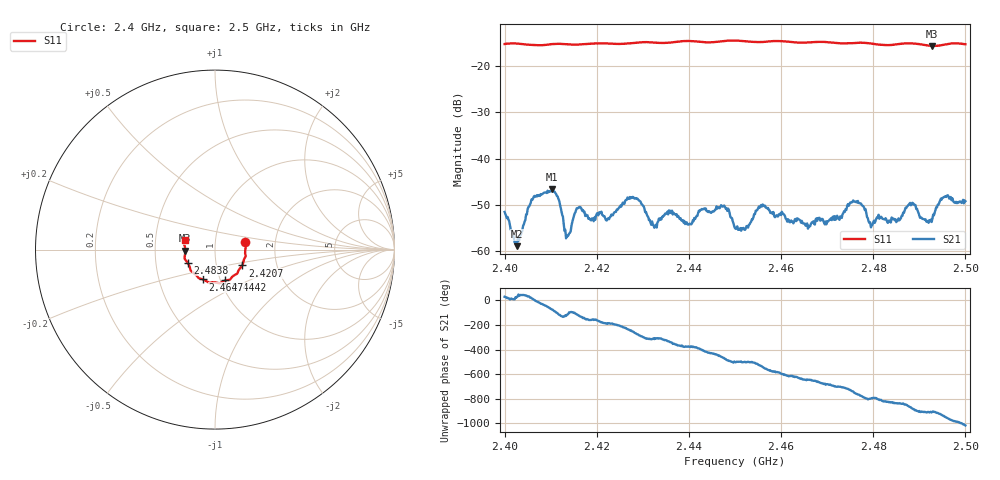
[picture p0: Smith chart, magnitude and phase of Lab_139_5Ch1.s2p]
# Hz S RI R 50
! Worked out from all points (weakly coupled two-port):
!   601 points, 2.4 GHz to 2.5 GHz, reference 50 ohm
!   highest |S21| = -46.58 dB at 2.4103 GHz (marker M1); lowest = -58.9 dB at 2.4027 GHz (marker M2)
!   lowest |S11| = -15.6 dB at 2.4928 GHz (marker M3), VSWR 1.40, Z = 35.8 - j0.446 ohm
!   |S11| at or under -10 dB: start of sweep to end of sweep
!   S12 and S22 are empty: the file has one direction only
!   S11 on the Smith chart (normalised r, x): 2.4 GHz: 1.40, +0.12; 2.4207 GHz: 1.33, -0.24; 2.4442 GHz: 1.05, -0.37; 2.4647 GHz: 0.83, -0.29; 2.4838 GHz: 0.73, -0.11; 2.5 GHz: 0.71, +0.07
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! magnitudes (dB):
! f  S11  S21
! 2.4 GHz  -15.2  -51.5
! 2.4027 GHz  -15.1  -58.9
! 2.406 GHz  -15.4  -48.9
! 2.4103 GHz  -15.2  -46.6
! 2.4135 GHz  -15.3  -56.6
! 2.4167 GHz  -15.3  -50.8
! 2.4207 GHz  -15.1  -51.6
! 2.428 GHz  -15.0  -48.4
! 2.4333 GHz  -15.0  -53.5
! 2.4442 GHz  -14.9  -51.5
! 2.4475 GHz  -14.6  -50.2
! 2.45 GHz  -14.5  -55.0
! 2.456 GHz  -14.8  -49.9
! 2.4647 GHz  -14.9  -53.9
! 2.4667 GHz  -14.8  -53.8
! 2.4762 GHz  -15.0  -49.3
! 2.4833 GHz  -15.5  -53.4
! 2.4838 GHz  -15.4  -53.8
! 2.4883 GHz  -15.1  -49.9
! 2.4928 GHz  -15.6  -53.0
! 2.4955 GHz  -15.3  -48.2
! 2.5 GHz  -15.3  -49.2
